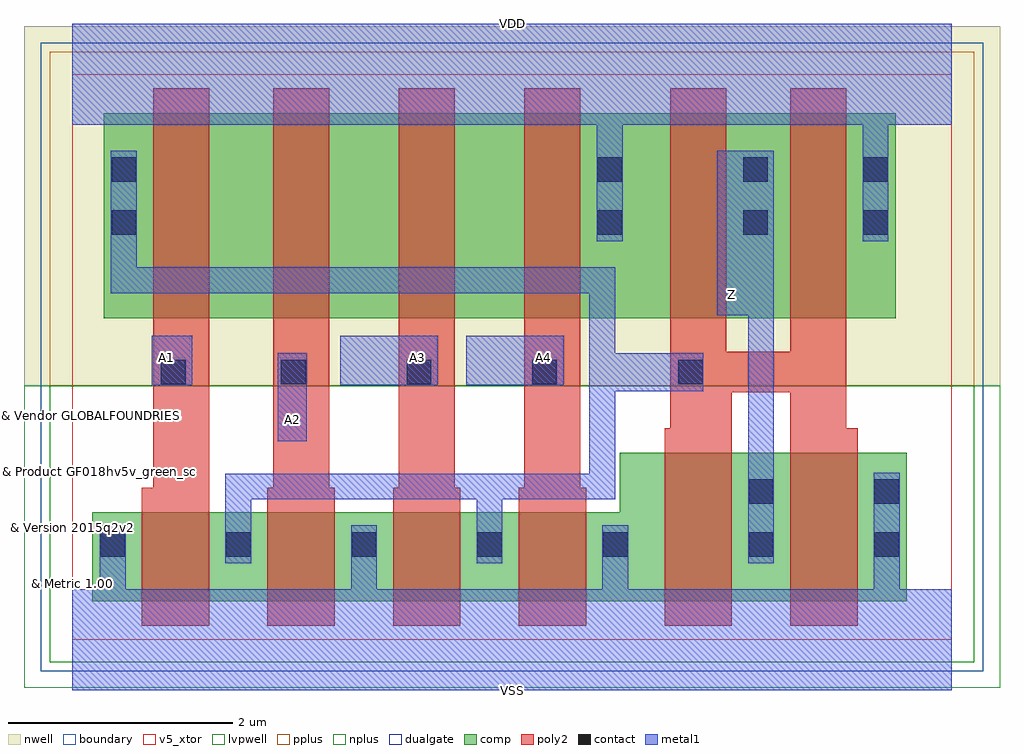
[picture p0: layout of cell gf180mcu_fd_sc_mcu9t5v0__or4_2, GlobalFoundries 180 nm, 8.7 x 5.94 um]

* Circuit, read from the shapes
.subckt gf180mcu_fd_sc_mcu9t5v0__or4_2 A1 A2 A3 A4 VDD VSS Z
XM1 n1 A1 VSS VSUBS nfet_05v0 w=0.79u l=0.6u
XM2 VSS A2 n1 VSUBS nfet_05v0 w=0.79u l=0.6u
XM3 n1 A3 VSS VSUBS nfet_05v0 w=0.79u l=0.6u
XM4 VSS A4 n1 VSUBS nfet_05v0 w=0.79u l=0.6u
XM5 Z n1 VSS VSUBS nfet_05v0 w=1.32u l=0.6u m=2
XM6 n2 A1 n1 n3 pfet_05v0 w=1.83u l=0.5u
XM7 n4 A2 n2 n3 pfet_05v0 w=1.83u l=0.5u
XM8 n5 A3 n4 n3 pfet_05v0 w=1.83u l=0.5u
XM9 VDD A4 n5 n3 pfet_05v0 w=1.83u l=0.5u
XM10 Z n1 VDD n3 pfet_05v0 w=1.83u l=0.5u m=2
.ends

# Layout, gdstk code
import gdstk
lib = gdstk.Library(unit=1e-6, precision=1e-09)
def R(c, l, rs):  # rectangles x0, y0, x1, y1
    for r in rs: c.add(gdstk.rectangle(r[:2], r[2:], *l))
def A(c, l, x, y, w, h, nx, ny, dx, dy):  # array of equal rectangles
    R(c, l, [(x+i*dx, y+j*dy, x+i*dx+w, y+j*dy+h) for i in range(nx) for j in range(ny)])
def P(c, l, *ps):  # polygons
    for p in ps: c.add(gdstk.Polygon(p, *l))
boundary = (0, 0)
nwell = (21, 0)
comp = (22, 0)
poly2 = (30, 0)
pplus = (31, 0)
nplus = (32, 0)
contact = (33, 0)
metal1 = (34, 0)
dualgate = (55, 0)
v5_xtor = (112, 1)
lvpwell = (204, 0)

gf180mcu_fd_sc_mcu9t5v0_ = lib.new_cell('gf180mcu_fd_sc_mcu9t5v0__or4_2')
R(gf180mcu_fd_sc_mcu9t5v0_, boundary, [(0,0,7.84,5.04)])
R(gf180mcu_fd_sc_mcu9t5v0_, nwell, [(-0.43,2.265,8.27,5.47)])
R(gf180mcu_fd_sc_mcu9t5v0_, comp, [(0.28,2.865,7.34,4.695)])
P(gf180mcu_fd_sc_mcu9t5v0_, comp, [(0.18,0.345),(0.18,1.135),(4.88,1.135),(4.88,1.665),(7.44,1.665),(7.44,0.345)])
P(gf180mcu_fd_sc_mcu9t5v0_, poly2, [(0.62,0.125),(0.62,1.355),(0.72,1.355),(0.72,4.915),(1.22,4.915),(1.22,0.125)],
  [(1.74,0.125),(1.74,1.355),(1.79,1.355),(1.79,4.915),(2.29,4.915),(2.29,1.355),(2.34,1.355),(2.34,0.125)],
  [(2.86,0.125),(2.86,1.355),(2.91,1.355),(2.91,4.915),(3.41,4.915),(3.41,1.355),(3.46,1.355),(3.46,0.125)],
  [(3.98,0.125),(3.98,1.355),(4.03,1.355),(4.03,4.915),(4.53,4.915),(4.53,1.355),(4.58,1.355),(4.58,0.125)],
  [(5.28,0.125),(5.28,1.885),(5.33,1.885),(5.33,4.915),(5.83,4.915),(5.83,2.565),(6.4,2.565),(6.4,4.915),(6.9,4.915),(6.9,1.885),(7,1.885),(7,0.125),(6.4,0.125),(6.4,2.205),(5.88,2.205),(5.88,0.125)])
R(gf180mcu_fd_sc_mcu9t5v0_, pplus, [(-0.2,2.265,8.04,5.24)])
R(gf180mcu_fd_sc_mcu9t5v0_, nplus, [(-0.2,-0.2,8.04,2.265)])
A(gf180mcu_fd_sc_mcu9t5v0_, contact, 0.25, 0.74, 0.22, 0.22, 5, 1, 1.12, 0)
A(gf180mcu_fd_sc_mcu9t5v0_, contact, 1.86, 2.275, 0.22, 0.22, 3, 1, 1.12, 0)
R(gf180mcu_fd_sc_mcu9t5v0_, contact, [(6.03,0.74,6.25,0.96), (7.15,0.74,7.37,0.96), (6.03,1.21,6.25,1.43), (7.15,1.21,7.37,1.43), (0.79,2.275,1.01,2.495), (5.4,2.275,5.62,2.495), (0.35,3.61,0.57,3.83), (4.68,3.61,4.9,3.83), (5.98,3.61,6.2,3.83), (7.05,3.61,7.27,3.83), (0.35,4.08,0.57,4.3), (4.68,4.08,4.9,4.3), (5.98,4.08,6.2,4.3), (7.05,4.08,7.27,4.3)])
R(gf180mcu_fd_sc_mcu9t5v0_, metal1, [(1.83,1.77,2.09,2.555), (0.71,2.27,1.07,2.71), (2.39,2.27,3.26,2.71), (3.51,2.27,4.38,2.71)])
P(gf180mcu_fd_sc_mcu9t5v0_, metal1, [(1.365,0.68),(1.365,1.48),(4.61,1.48),(4.61,3.09),(0.345,3.09),(0.345,4.36),(0.575,4.36),(0.575,3.32),(4.84,3.32),(4.84,2.555),(5.625,2.555),(5.625,2.215),(4.84,2.215),(4.84,1.25),(3.835,1.25),(3.835,0.68),(3.605,0.68),(3.605,1.25),(1.595,1.25),(1.595,0.68)],
  [(6.025,0.68),(6.025,2.89),(5.75,2.89),(5.75,4.36),(6.255,4.36),(6.255,0.68)],
  [(0,-0.45),(0,0.45),(0.245,0.45),(0.245,1.02),(0.475,1.02),(0.475,0.45),(2.485,0.45),(2.485,1.02),(2.715,1.02),(2.715,0.45),(4.725,0.45),(4.725,1.02),(4.955,1.02),(4.955,0.45),(7.145,0.45),(7.145,1.49),(7.375,1.49),(7.375,0.45),(7.84,0.45),(7.84,-0.45)],
  [(4.675,3.55),(4.675,4.59),(0,4.59),(0,5.49),(7.84,5.49),(7.84,4.59),(7.275,4.59),(7.275,3.55),(7.045,3.55),(7.045,4.59),(4.905,4.59),(4.905,3.55)])
R(gf180mcu_fd_sc_mcu9t5v0_, dualgate, [(-0.28,-0.28,8.12,5.32)])
R(gf180mcu_fd_sc_mcu9t5v0_, v5_xtor, [(0,0,7.84,5.04)])
R(gf180mcu_fd_sc_mcu9t5v0_, lvpwell, [(-0.43,-0.43,8.27,2.265)])
gf180mcu_fd_sc_mcu9t5v0_.add(gdstk.Label('A1', (0.84,2.52), layer=34, texttype=10))
gf180mcu_fd_sc_mcu9t5v0_.add(gdstk.Label('A2', (1.96,1.96), layer=34, texttype=10))
gf180mcu_fd_sc_mcu9t5v0_.add(gdstk.Label('A3', (3.08,2.52), layer=34, texttype=10))
gf180mcu_fd_sc_mcu9t5v0_.add(gdstk.Label('A4', (4.2,2.52), layer=34, texttype=10))
gf180mcu_fd_sc_mcu9t5v0_.add(gdstk.Label('VDD', (3.92,5.49), layer=34, texttype=10))
gf180mcu_fd_sc_mcu9t5v0_.add(gdstk.Label('VSS', (3.92,-0.45), layer=34, texttype=10))
gf180mcu_fd_sc_mcu9t5v0_.add(gdstk.Label('Z', (5.88,3.08), layer=34, texttype=10))
gf180mcu_fd_sc_mcu9t5v0_.add(gdstk.Label('& Vendor GLOBALFOUNDRIES', (0,2), layer=63, texttype=63))
gf180mcu_fd_sc_mcu9t5v0_.add(gdstk.Label('& Product GF018hv5v_green_sc9', (0,1.5), layer=63, texttype=63))
gf180mcu_fd_sc_mcu9t5v0_.add(gdstk.Label('& Version 2015q2v2', (0,1), layer=63, texttype=63))
gf180mcu_fd_sc_mcu9t5v0_.add(gdstk.Label('& Metric 1.00', (0,0.5), layer=63, texttype=63))

lib.write_gds('gf180mcu_fd_sc_mcu9t5v0__or4_2.gds')
